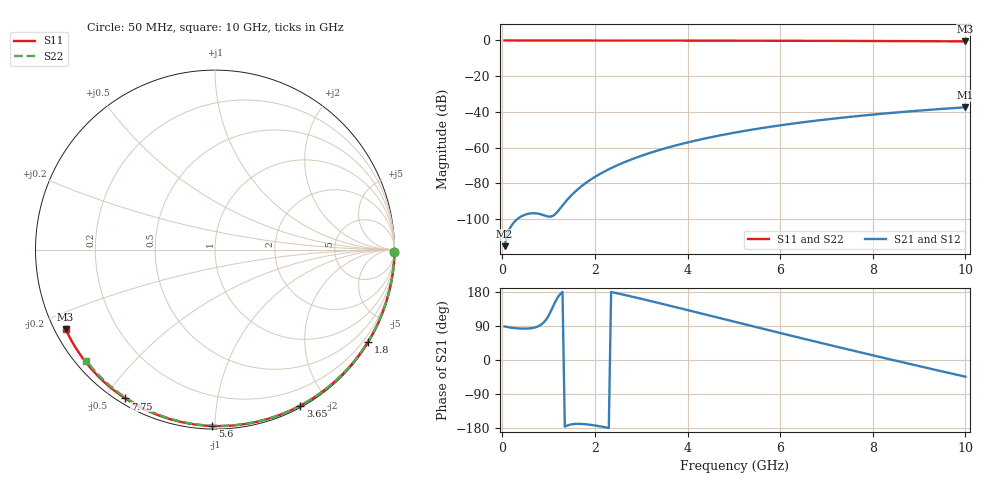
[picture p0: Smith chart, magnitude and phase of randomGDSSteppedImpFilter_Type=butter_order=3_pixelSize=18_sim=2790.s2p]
! freq	dB(S11)	phase(S11)	dB(S12)	phase(S12)
!  dB(S21)	phase(S21)	dB(S22)	phase(S22)
!S-par simulation data
#  GHz  S  DB  R 50
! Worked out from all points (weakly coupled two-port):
!   200 points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, 50 MHz to 10 GHz, reference 50 ohm
!   highest |S21| = -37.40 dB at 10 GHz (marker M1); lowest = -115.1 dB at 50 MHz (marker M2)
!   lowest |S11| = -0.5 dB at 10 GHz (marker M3), VSWR 33.95, Z = 1.56 - j12.5 ohm
!   |S11| at or under -10 dB: nowhere
!   |S22| runs from -0.5 to 0.0 dB; largest |S21 - S12| = 0
!   S11 on the Smith chart (normalised r, x): 50 MHz: open; 1.8 GHz: 0.03, -3.60; 3.65 GHz: 0.02, -1.69; 5.6 GHz: 0.02, -0.99; 7.75 GHz: 0.02, -0.56; 10 GHz: 0.03, -0.25
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0.05  -0.00 -0.9  -115.12 88.5  -115.12 88.5  -0.00 -0.8
0.45  -0.01 -7.9  -97.94 82.8  -97.94 82.8  -0.01 -7.2
0.9  -0.02 -15.7  -97.83 99.7  -97.83 99.7  -0.02 -14.4
1.3  -0.03 -22.5  -92.34 179.8  -92.34 179.8  -0.03 -20.7
1.75  -0.04 -30.2  -80.77 -169.0  -80.77 -169.0  -0.04 -27.8
1.8  -0.04 -31.0  -79.80 -169.5  -79.80 -169.5  -0.04 -28.5
1.95  -0.04 -33.5  -77.17 -171.8  -77.17 -171.8  -0.04 -30.9
2.1  -0.05 -36.1  -74.84 -174.7  -74.84 -174.7  -0.04 -33.2
2.3  -0.05 -39.4  -72.09 -179.4  -72.09 -179.4  -0.05 -36.3
2.5  -0.05 -42.7  -69.66 175.5  -69.66 175.5  -0.05 -39.3
2.9  -0.06 -49.3  -65.49 164.4  -65.49 164.4  -0.06 -45.4
3.4  -0.08 -57.3  -61.24 149.8  -61.24 149.8  -0.07 -52.8
3.65  -0.08 -61.3  -59.40 142.3  -59.40 142.3  -0.08 -56.5
4.3  -0.10 -71.4  -55.29 122.6  -55.29 122.6  -0.09 -65.8
5.05  -0.13 -82.7  -51.43 99.9  -51.43 99.9  -0.12 -76.3
5.6  -0.15 -90.8  -49.05 83.2  -49.05 83.2  -0.14 -83.8
6.15  -0.18 -98.8  -46.96 66.7  -46.96 66.7  -0.16 -91.2
6.7  -0.21 -106.5  -45.11 50.4  -45.11 50.4  -0.19 -98.3
7.75  -0.28 -121.1  -42.11 19.6  -42.11 19.6  -0.26 -111.7
8.35  -0.33 -129.3  -40.66 2.4  -40.66 2.4  -0.31 -119.1
9.2  -0.42 -140.9  -38.85 -21.7  -38.85 -21.7  -0.38 -129.5
10  -0.51 -152.0  -37.40 -44.1  -37.40 -44.1  -0.47 -139.3
